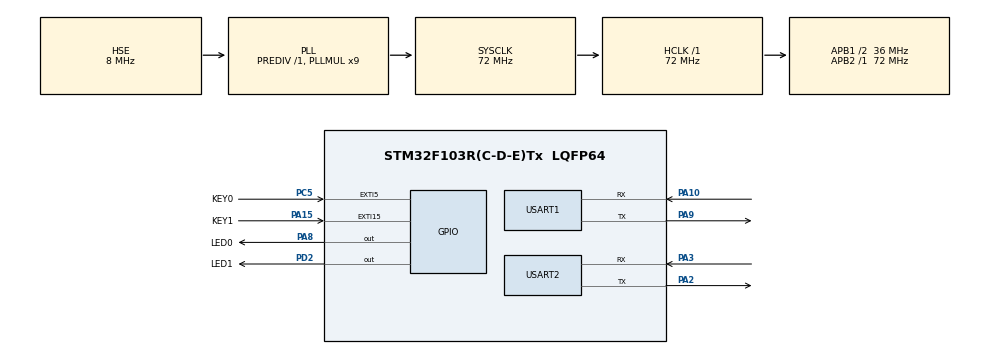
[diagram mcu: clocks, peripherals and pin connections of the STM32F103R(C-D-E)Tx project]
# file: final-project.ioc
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Dma.Request0=USART1_RX
Dma.Request1=USART2_RX
Dma.USART1_RX.0.Direction=DMA_PERIPH_TO_MEMORY
Dma.USART1_RX.0.Instance=DMA1_Channel5
Dma.USART1_RX.0.MemDataAlignment=DMA_MDATAALIGN_BYTE
Dma.USART1_RX.0.MemInc=DMA_MINC_ENABLE
Dma.USART1_RX.0.Mode=DMA_CIRCULAR
Dma.USART1_RX.0.PeriphDataAlignment=DMA_PDATAALIGN_BYTE
Dma.USART1_RX.0.PeriphInc=DMA_PINC_DISABLE
Dma.USART1_RX.0.Priority=DMA_PRIORITY_LOW
Dma.USART2_RX.1.Direction=DMA_PERIPH_TO_MEMORY
Dma.USART2_RX.1.Instance=DMA1_Channel6
Dma.USART2_RX.1.MemDataAlignment=DMA_MDATAALIGN_BYTE
Dma.USART2_RX.1.MemInc=DMA_MINC_ENABLE
Dma.USART2_RX.1.Mode=DMA_CIRCULAR
Dma.USART2_RX.1.PeriphDataAlignment=DMA_PDATAALIGN_BYTE
Dma.USART2_RX.1.PeriphInc=DMA_PINC_DISABLE
Dma.USART2_RX.1.Priority=DMA_PRIORITY_LOW
Mcu.Family=STM32F1
Mcu.Name=STM32F103R(C-D-E)Tx
Mcu.Package=LQFP64
NVIC.DMA1_Channel5_IRQn=true\:0\:0\:false\:false\:true\:false\:true
NVIC.DMA1_Channel6_IRQn=true\:0\:0\:false\:false\:true\:false\:true
NVIC.EXTI15_10_IRQn=true\:2\:0\:true\:false\:true\:true\:true
NVIC.EXTI9_5_IRQn=true\:2\:0\:true\:false\:true\:true\:true
NVIC.PriorityGroup=NVIC_PRIORITYGROUP_4
NVIC.TIM3_IRQn=true\:3\:0\:true\:false\:true\:true\:true
NVIC.USART1_IRQn=true\:1\:0\:true\:false\:true\:true\:true
NVIC.USART2_IRQn=true\:1\:0\:true\:false\:true\:true\:true
PA10.Mode=Asynchronous
PA10.Signal=USART1_RX
PA13.Mode=Serial_Wire
PA13.Signal=SYS_JTMS-SWDIO
PA14.Mode=Serial_Wire
PA14.Signal=SYS_JTCK-SWCLK
PA15.GPIO_Label=KEY1
PA15.GPIO_PuPd=GPIO_PULLUP
PA15.Signal=GPXTI15
PA2.Mode=Asynchronous
PA2.Signal=USART2_TX
PA3.Mode=Asynchronous
PA3.Signal=USART2_RX
PA8.GPIO_Label=LED0
PA8.Signal=GPIO_Output
PA9.Mode=Asynchronous
PA9.Signal=USART1_TX
PC5.GPIO_Label=KEY0
PC5.GPIO_PuPd=GPIO_PULLUP
PC5.Signal=GPXTI5
PD0-OSC_IN.Mode=HSE-External-Oscillator
PD0-OSC_IN.Signal=RCC_OSC_IN
PD1-OSC_OUT.Mode=HSE-External-Oscillator
PD1-OSC_OUT.Signal=RCC_OSC_OUT
PD2.GPIO_Label=LED1
PD2.Signal=GPIO_Output
ProjectManager.HeapSize=0x200
ProjectManager.StackSize=0x400
ProjectManager.TargetToolchain=STM32CubeIDE
RCC.AHBFreq_Value=72000000
RCC.APB1CLKDivider=RCC_HCLK_DIV2
RCC.APB1Freq_Value=36000000
RCC.APB1TimFreq_Value=72000000
RCC.APB2Freq_Value=72000000
RCC.APB2TimFreq_Value=72000000
RCC.HCLKFreq_Value=72000000
RCC.PLLMUL=RCC_PLL_MUL9
RCC.PLLSourceVirtual=RCC_PLLSOURCE_HSE
RCC.SYSCLKFreq_VALUE=72000000
RCC.SYSCLKSource=RCC_SYSCLKSOURCE_PLLCLK
RCC.USBFreq_Value=72000000
TIM3.AutoReloadPreload=TIM_AUTORELOAD_PRELOAD_ENABLE
TIM3.Period=1999
TIM3.Prescaler=7199
USART1.VirtualMode=VM_ASYNC
USART2.VirtualMode=VM_ASYNC
VP_TIM3_VS_ClockSourceINT.Mode=Internal
board=custom

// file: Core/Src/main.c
/* USER CODE BEGIN Header */
/**
  ******************************************************************************
  * @file           : main.c
  * @brief          : Main program body
  ******************************************************************************
  * @attention
  *
  * <h2><center>&copy; Copyright (c) 2020 STMicroelectronics.
  * All rights reserved.</center></h2>
  *
  * This software component is licensed by ST under BSD 3-Clause license,
  * the "License"; You may not use this file except in compliance with the
  * License. You may obtain a copy of the License at:
  *                        opensource.org/licenses/BSD-3-Clause
  *
  ******************************************************************************
  */
/* USER CODE END Header */
#include "main.h"

/* USER CODE BEGIN Includes */
#include "lcd.h"
/* USER CODE END Includes */

TIM_HandleTypeDef htim3;

UART_HandleTypeDef huart1;
UART_HandleTypeDef huart2;
DMA_HandleTypeDef hdma_usart1_rx;
DMA_HandleTypeDef hdma_usart2_rx;

/* USER CODE BEGIN PV */
uint8_t uart1_rx_buffer[2048];// for uart1 receive buffer
uint8_t uart2_rx_buffer[2048];// for uart2 receive buffer

unsigned char a[25] = {0};
unsigned char b[25] = {0};
unsigned char c[25] = {0};
unsigned char d[25] = {0};
unsigned char e[25] = {0};
unsigned char f[25] = {0};
unsigned char g[25] = {0};
unsigned char h[25] = {0};
unsigned char i[25] = {0};

unsigned int aa = 0;
unsigned int LENGTH = 7;
unsigned int ba = 0;
unsigned int ca = 0;
unsigned int da = 0;
unsigned int ea = 0;
unsigned int fa = 0;
unsigned int ga = 0;
unsigned int ha = 0;
unsigned int ia = 0;

unsigned int al = 0;
unsigned int bl = 0;
unsigned int cl = 0;
unsigned int dl = 0;
unsigned int el = 0;
unsigned int fl = 0;
unsigned int gl = 0;
unsigned int hl = 0;
unsigned int il = 0;
/* USER CODE END PV */

void SystemClock_Config(void);
static void MX_GPIO_Init(void);
static void MX_DMA_Init(void);
static void MX_TIM3_Init(void);
static void MX_USART1_UART_Init(void);
static void MX_USART2_UART_Init(void);

/* USER CODE BEGIN 0 */

char uRx_Data[2048];
int uLength = 0;

//Call this method to clear all the information.
void reset(){
	for(int i = 0;i < 2048;i++){
		uRx_Data[i] = 0;
	}
	uLength = 0;
	for(int x = 0;x < 25;x++){
		a[x] = 0;
		b[x] = 0;
		c[x] = 0;
		d[x] = 0;
		e[x] = 0;
		f[x] = 0;
		g[x] = 0;
		h[x] = 0;
		i[x] = 0;
	}

	aa = 0;
	LENGTH = 7;
	ba = 0;
	ca = 0;
	da = 0;
	ea = 0;
	fa = 0;
	ga = 0;
	ha = 0;
	ia = 0;

	al = 0;
	bl = 0;
	cl = 0;
	dl = 0;
	el = 0;
	fl = 0;
	gl = 0;
	hl = 0;
	il = 0;
	changeState(0);
	showMessage();
}

// This is called when the connection status changes
void StateChange(int connected){
	changeState(connected);
	showMessage();
}

// This method is called when sending a message.
// usart : 1 -> The machine sends a message.
// usart : 2 -> The machine received the message.
void printOut(unsigned char newline[],unsigned char ul, int usart,int connected){
	changeState(connected);
	updateuD(newline,ul,usart);
	showMessage();
}

void rightDialog(
	  	int x0, int y0,int r,int L,uint16_t c){
	POINT_COLOR = c;
  	int a, b;
  	int di;
	a = 0;
	b = r;
	di = 3 - (r << 1);
	while (a <= b) {
		LCD_DrawPoint(x0 - a, y0 + b);             //1
		LCD_DrawPoint(x0 - b, y0 + a);
		LCD_DrawPoint(x0 - a, y0 - b);             //2
		LCD_DrawPoint(x0 - b, y0 - a);             //7
		a++;
		if (di < 0)
			di += 4 * a + 6;
		else {
			di += 10 + 4 * (a - b);
			b--;
		}
	}

	int x_1 = x0;
	int y_1 = y0 - r;
	int x_2 = x0 + L;
	int y_2 = y0 + r;
	LCD_DrawLine(x_1, y_1, x_2 + r, y_1);
	LCD_DrawLine(x_2 + r, y_1,x_2 + sqrt(2)/2 * r, y0 - sqrt(2)/2 * r);
	LCD_DrawLine(x_1, y_2, x_2, y_2);
	x0 = x_2;
		a = 0;
		b = r;
		di = 3 - (r << 1);
		while (a <= b) {
			LCD_DrawPoint(x0 + b, y0 - a);             //0
			LCD_DrawPoint(x0 + b, y0 + a);             //4
			LCD_DrawPoint(x0 + a, y0 + b);             //6
			a++;
			if (di < 0)
				di += 4 * a + 6;
			else {
				di += 10 + 4 * (a - b);
				b--;
			}
		}

}
void leftDialog(
	  	int x0, int y0,int r,int L,uint16_t c){
	POINT_COLOR = c;
  	int a, b;
  	int di;
	a = 0;
	b = r;
	di = 3 - (r << 1);
	while (a <= b) {
		LCD_DrawPoint(x0 - a, y0 + b);             //1
		LCD_DrawPoint(x0 - b, y0 + a);
		LCD_DrawPoint(x0 - b, y0 - a);             //7
		a++;
		if (di < 0)
			di += 4 * a + 6;
		else {
			di += 10 + 4 * (a - b);
			b--;
		}
	}

	int x_1 = x0;
	int y_1 = y0 - r;
	int x_2 = x0 + L;
	int y_2 = y0 + r;
	LCD_DrawLine(x_1 - r, y_1, x_2, y_1);
	LCD_DrawLine(x_1 - r, y_1,x_1 - sqrt(2)/2 * r, y0 - sqrt(2)/2 * r);
	LCD_DrawLine(x_1, y_2, x_2, y_2);
	x0 = x_2;
		a = 0;
		b = r;
		di = 3 - (r << 1);
		while (a <= b) {
					LCD_DrawPoint(x0 + a, y0 - b);             //5
					LCD_DrawPoint(x0 + b, y0 - a);             //0
					LCD_DrawPoint(x0 + b, y0 + a);             //4
					LCD_DrawPoint(x0 + a, y0 + b);             //6
			a++;
			if (di < 0)
				di += 4 * a + 6;
			else {
				di += 10 + 4 * (a - b);
				b--;
			}
		}

}

void changeState(int connected){
	LCD_Clear(WHITE);
	LCD_DrawRectangle(16, 20, 220, 300);
	if(connected == 2){
			POINT_COLOR = GREEN;
			LCD_Draw_Circle(30,10,4);
			LCD_Draw_Circle(30,10,3);
			LCD_Draw_Circle(30,10,2);
			LCD_Draw_Circle(30,10,1);
			LCD_ShowString(40, 4, 185, 10, 16, (uint8_t*) "CONNECTION");
			POINT_COLOR = BLACK;
	}
	else{
		POINT_COLOR = RED;
		LCD_Draw_Circle(30,10,4);
		LCD_Draw_Circle(30,10,3);
		LCD_Draw_Circle(30,10,2);
		LCD_Draw_Circle(30,10,1);
		LCD_ShowString(40, 4, 185, 10, 16, (uint8_t*) "CLOSED");
		POINT_COLOR = BLACK;
	}
}

//usart = 1 : From PCS
//usart = 2 : From WIFI
void updateuD(unsigned char newline[],unsigned char ul, int usart){
	int iii = 0;
	while(iii<ul){
		uRx_Data[iii] = newline[iii];
		iii++;
	}
	uLength = ul;
	addNewLine(usart);
}
//usart = 1 : From PC
//usart = 2 : From WIFI
void addNewLine(int usart){
	int p = uLength / 24;
	for(int m = 0; m <= p; m++){
		for(int k = 0; k < 25; k++){
			a[k] = b[k];
			b[k] = c[k];
			c[k] = d[k];
			d[k] = e[k];
			e[k] = f[k];
			f[k] = g[k];
			g[k] = h[k];
			h[k] = i[k];
			i[k] = uRx_Data[k + m * 24];
		}
		aa = ba;
		ba = ca;
		ca = da;
		da = ea;
		ea = fa;
		fa = ga;
		ga = ha;
		ha = ia;
		ia = 0;

		al = bl;
		bl = cl;
		cl = dl;
		dl = el;
		el = fl;
		fl = gl;
		gl = hl;
		hl = il;
		il = uLength;

	}

	if(usart == 1){
		int l = uLength % 24;
		for(int k = 0; k < 24-l; k++){
			i[k] = '\40';
		}
		for(int k = 0; k < l; k++){
			i[24-l+k] = uRx_Data[k+24*p];
		}
		i[24] = 0;
	}
	else if(usart == 2){
		ia = 1;
	}

}
void showMessage(){
	if (aa == 1){
		POINT_COLOR = RED;
		if(al!=0){
			LCD_ShowString(23, 35, 185, 10, 16, (uint8_t*) a);
			leftDialog(30,43,10,al * LENGTH,RED);
		}
	}
	else{
		POINT_COLOR = BLACK;
		if(al!=0){
			LCD_ShowString(23, 35, 185, 10, 16, (uint8_t*) a);
			rightDialog(205-(al * LENGTH),43,10,al * LENGTH,BLACK);
		}
	}

	if (ba == 1){
		POINT_COLOR = RED;

		if (bl!=0){
			LCD_ShowString(23, 65, 185, 10, 16, (uint8_t*) b);
			leftDialog(30,73,10,bl * LENGTH,RED);
		}

	}
	else{
		POINT_COLOR = BLACK;

		if (bl!=0){
			LCD_ShowString(23, 65, 185, 10, 16, (uint8_t*) b);
			rightDialog(205-(bl * LENGTH),73,10,bl * LENGTH,BLACK);
		}
	}
	if (ca == 1){
		POINT_COLOR = RED;

		if(cl!=0){
			LCD_ShowString(23, 95, 185, 10, 16, (uint8_t*) c);
			leftDialog(30,103,10,cl * LENGTH,RED);
		}
	}
	else{
		POINT_COLOR = BLACK;
		if(cl!=0){
			LCD_ShowString(23, 95, 185, 10, 16, (uint8_t*) c);
			rightDialog(205-(cl * LENGTH),103,10,cl * LENGTH,BLACK);
		}
	}

	if (da == 1){
		POINT_COLOR = RED;
		if(dl!=0){
			LCD_ShowString(23, 125, 185, 10, 16, (uint8_t*) d);
			leftDialog(30,133,10,dl * LENGTH,RED);
		}
	}
	else{
		POINT_COLOR = BLACK;
		if(dl!=0){
			LCD_ShowString(23, 125, 185, 10, 16, (uint8_t*) d);
			rightDialog(205-(dl * LENGTH),133,10,dl * LENGTH,BLACK);
		}
	}
	if (ea == 1){
		POINT_COLOR = RED;
		if(el!=0){
			LCD_ShowString(23, 155, 185, 10, 16, (uint8_t*) e);
			leftDialog(30,163,10,el * LENGTH,RED);
		}
	}
	else{
		POINT_COLOR = BLACK;

		if(el!=0){
			LCD_ShowString(23, 155, 185, 10, 16, (uint8_t*) e);
			rightDialog(205-(el * LENGTH),163,10,el * LENGTH,BLACK);
		}
	}
	if (fa == 1){
		POINT_COLOR = RED;
		if(fl!=0){
			LCD_ShowString(23, 185, 185, 10, 16, (uint8_t*) f);
			leftDialog(30,193,10,fl * LENGTH,RED);
		}
	}
	else{
		POINT_COLOR = BLACK;
		if(fl!=0){
			LCD_ShowString(23, 185, 185, 10, 16, (uint8_t*) f);
			rightDialog(205-(fl * LENGTH),193,10,fl * LENGTH,BLACK);
		}

	}
	if (ga == 1){
		POINT_COLOR = RED;
		if(gl!=0){
			LCD_ShowString(23, 215, 185, 10, 16, (uint8_t*) g);
			leftDialog(30,223,10,gl * LENGTH,RED);
		}
	}
	else{
		POINT_COLOR = BLACK;

		if(gl!=0){
			LCD_ShowString(23, 215, 185, 10, 16, (uint8_t*) g);
			rightDialog(205-(gl * LENGTH),223,10,gl * LENGTH,BLACK);
		}

	}
	if (ha == 1){
		POINT_COLOR = RED;
		if(hl!=0){
			LCD_ShowString(23, 245, 185, 10, 16, (uint8_t*) h);
			leftDialog(30,253,10,hl * LENGTH,RED);
		}
	}
	else{
		POINT_COLOR = BLACK;
		if(hl!=0){
			LCD_ShowString(23, 245, 185, 10, 16, (uint8_t*) h);
			rightDialog(205-(hl * LENGTH),253,10,hl * LENGTH,BLACK);
		}

	}
	if (ia == 1){
		POINT_COLOR = RED;
		if(il!=0){
			LCD_ShowString(23, 275, 185, 10, 16, (uint8_t*) i);
			leftDialog(30,283,10,il * LENGTH,RED);
		}
	}
	else{
		POINT_COLOR = BLACK;

		if(il!=0){
			LCD_ShowString(23, 275, 185, 10, 16, (uint8_t*) i);
			rightDialog(205-(il * LENGTH),283,10,il * LENGTH,BLACK);
		}

	}
	POINT_COLOR = BLACK;
}

/* USER CODE END 0 */

int main(void)
{

  /* MCU Configuration--------------------------------------------------------*/

  /* Reset of all peripherals, Initializes the Flash interface and the Systick. */
  HAL_Init();

  /* Configure the system clock */
  SystemClock_Config();

  /* USER CODE BEGIN SysInit */
    LCD_Init();
  /* USER CODE END SysInit */

  /* Initialize all configured peripherals */
  MX_GPIO_Init();
  MX_DMA_Init();
  MX_TIM3_Init();
  MX_USART1_UART_Init();
  MX_USART2_UART_Init();
  /* USER CODE BEGIN 2 */
    __HAL_UART_ENABLE_IT(&huart1, UART_IT_IDLE);
    HAL_UART_Receive_DMA(&huart1, (uint8_t *) uart1_rx_buffer, 2048);
    __HAL_UART_ENABLE_IT(&huart2, UART_IT_IDLE);
    HAL_UART_Receive_DMA(&huart2, (uint8_t *) uart2_rx_buffer, 2048);
    HAL_TIM_Base_Start_IT(&htim3);

  /* USER CODE END 2 */

  /* Infinite loop */
    while (1) {

    }
}

void SystemClock_Config(void)
{
  RCC_OscInitTypeDef RCC_OscInitStruct = {0};
  RCC_ClkInitTypeDef RCC_ClkInitStruct = {0};

  /** Initializes the RCC Oscillators according to the specified parameters
  * in the RCC_OscInitTypeDef structure.
  */
  RCC_OscInitStruct.OscillatorType = RCC_OSCILLATORTYPE_HSE;
  RCC_OscInitStruct.HSEState = RCC_HSE_ON;
  RCC_OscInitStruct.HSEPredivValue = RCC_HSE_PREDIV_DIV1;
  RCC_OscInitStruct.HSIState = RCC_HSI_ON;
  RCC_OscInitStruct.PLL.PLLState = RCC_PLL_ON;
  RCC_OscInitStruct.PLL.PLLSource = RCC_PLLSOURCE_HSE;
  RCC_OscInitStruct.PLL.PLLMUL = RCC_PLL_MUL9;
  if (HAL_RCC_OscConfig(&RCC_OscInitStruct) != HAL_OK)
  {
    Error_Handler();
  }
  /** Initializes the CPU, AHB and APB buses clocks
  */
  RCC_ClkInitStruct.ClockType = RCC_CLOCKTYPE_HCLK|RCC_CLOCKTYPE_SYSCLK
                              |RCC_CLOCKTYPE_PCLK1|RCC_CLOCKTYPE_PCLK2;
  RCC_ClkInitStruct.SYSCLKSource = RCC_SYSCLKSOURCE_PLLCLK;
  RCC_ClkInitStruct.AHBCLKDivider = RCC_SYSCLK_DIV1;
  RCC_ClkInitStruct.APB1CLKDivider = RCC_HCLK_DIV2;
  RCC_ClkInitStruct.APB2CLKDivider = RCC_HCLK_DIV1;

  if (HAL_RCC_ClockConfig(&RCC_ClkInitStruct, FLASH_LATENCY_2) != HAL_OK)
  {
    Error_Handler();
  }
}

static void MX_TIM3_Init(void)
{

  TIM_ClockConfigTypeDef sClockSourceConfig = {0};
  TIM_MasterConfigTypeDef sMasterConfig = {0};

  htim3.Instance = TIM3;
  htim3.Init.Prescaler = 7199;
  htim3.Init.CounterMode = TIM_COUNTERMODE_UP;
  htim3.Init.Period = 1999;
  htim3.Init.ClockDivision = TIM_CLOCKDIVISION_DIV1;
  htim3.Init.AutoReloadPreload = TIM_AUTORELOAD_PRELOAD_ENABLE;
  if (HAL_TIM_Base_Init(&htim3) != HAL_OK)
  {
    Error_Handler();
  }
  sClockSourceConfig.ClockSource = TIM_CLOCKSOURCE_INTERNAL;
  if (HAL_TIM_ConfigClockSource(&htim3, &sClockSourceConfig) != HAL_OK)
  {
    Error_Handler();
  }
  sMasterConfig.MasterOutputTrigger = TIM_TRGO_RESET;
  sMasterConfig.MasterSlaveMode = TIM_MASTERSLAVEMODE_DISABLE;
  if (HAL_TIMEx_MasterConfigSynchronization(&htim3, &sMasterConfig) != HAL_OK)
  {
    Error_Handler();
  }

}

static void MX_USART1_UART_Init(void)
{

  huart1.Instance = USART1;
  huart1.Init.BaudRate = 115200;
  huart1.Init.WordLength = UART_WORDLENGTH_8B;
  huart1.Init.StopBits = UART_STOPBITS_1;
  huart1.Init.Parity = UART_PARITY_NONE;
  huart1.Init.Mode = UART_MODE_TX_RX;
  huart1.Init.HwFlowCtl = UART_HWCONTROL_NONE;
  huart1.Init.OverSampling = UART_OVERSAMPLING_16;
  if (HAL_UART_Init(&huart1) != HAL_OK)
  {
    Error_Handler();
  }

}

static void MX_USART2_UART_Init(void)
{

  huart2.Instance = USART2;
  huart2.Init.BaudRate = 115200;
  huart2.Init.WordLength = UART_WORDLENGTH_8B;
  huart2.Init.StopBits = UART_STOPBITS_1;
  huart2.Init.Parity = UART_PARITY_NONE;
  huart2.Init.Mode = UART_MODE_TX_RX;
  huart2.Init.HwFlowCtl = UART_HWCONTROL_NONE;
  huart2.Init.OverSampling = UART_OVERSAMPLING_16;
  if (HAL_UART_Init(&huart2) != HAL_OK)
  {
    Error_Handler();
  }

}

static void MX_DMA_Init(void)
{

  /* DMA controller clock enable */
  __HAL_RCC_DMA1_CLK_ENABLE();

  /* DMA interrupt init */
  /* DMA1_Channel5_IRQn interrupt configuration */
  HAL_NVIC_SetPriority(DMA1_Channel5_IRQn, 0, 0);
  HAL_NVIC_EnableIRQ(DMA1_Channel5_IRQn);
  /* DMA1_Channel6_IRQn interrupt configuration */
  HAL_NVIC_SetPriority(DMA1_Channel6_IRQn, 0, 0);
  HAL_NVIC_EnableIRQ(DMA1_Channel6_IRQn);

}

static void MX_GPIO_Init(void)
{
  GPIO_InitTypeDef GPIO_InitStruct = {0};

  /* GPIO Ports Clock Enable */
  __HAL_RCC_GPIOD_CLK_ENABLE();
  __HAL_RCC_GPIOA_CLK_ENABLE();
  __HAL_RCC_GPIOC_CLK_ENABLE();

  /*Configure GPIO pin Output Level */
  HAL_GPIO_WritePin(LED0_GPIO_Port, LED0_Pin, GPIO_PIN_RESET);

  /*Configure GPIO pin Output Level */
  HAL_GPIO_WritePin(LED1_GPIO_Port, LED1_Pin, GPIO_PIN_RESET);

  /*Configure GPIO pin : KEY0_Pin */
  GPIO_InitStruct.Pin = KEY0_Pin;
  GPIO_InitStruct.Mode = GPIO_MODE_IT_RISING;
  GPIO_InitStruct.Pull = GPIO_PULLUP;
  HAL_GPIO_Init(KEY0_GPIO_Port, &GPIO_InitStruct);

  /*Configure GPIO pin : LED0_Pin */
  GPIO_InitStruct.Pin = LED0_Pin;
  GPIO_InitStruct.Mode = GPIO_MODE_OUTPUT_PP;
  GPIO_InitStruct.Pull = GPIO_NOPULL;
  GPIO_InitStruct.Speed = GPIO_SPEED_FREQ_LOW;
  HAL_GPIO_Init(LED0_GPIO_Port, &GPIO_InitStruct);

  /*Configure GPIO pin : KEY1_Pin */
  GPIO_InitStruct.Pin = KEY1_Pin;
  GPIO_InitStruct.Mode = GPIO_MODE_IT_RISING;
  GPIO_InitStruct.Pull = GPIO_PULLUP;
  HAL_GPIO_Init(KEY1_GPIO_Port, &GPIO_InitStruct);

  /*Configure GPIO pin : LED1_Pin */
  GPIO_InitStruct.Pin = LED1_Pin;
  GPIO_InitStruct.Mode = GPIO_MODE_OUTPUT_PP;
  GPIO_InitStruct.Pull = GPIO_NOPULL;
  GPIO_InitStruct.Speed = GPIO_SPEED_FREQ_LOW;
  HAL_GPIO_Init(LED1_GPIO_Port, &GPIO_InitStruct);

  /* EXTI interrupt init*/
  HAL_NVIC_SetPriority(EXTI9_5_IRQn, 2, 0);
  HAL_NVIC_EnableIRQ(EXTI9_5_IRQn);

  HAL_NVIC_SetPriority(EXTI15_10_IRQn, 2, 0);
  HAL_NVIC_EnableIRQ(EXTI15_10_IRQn);

}

void Error_Handler(void)
{
}

/************************ (C) COPYRIGHT STMicroelectronics *****END OF FILE****/
